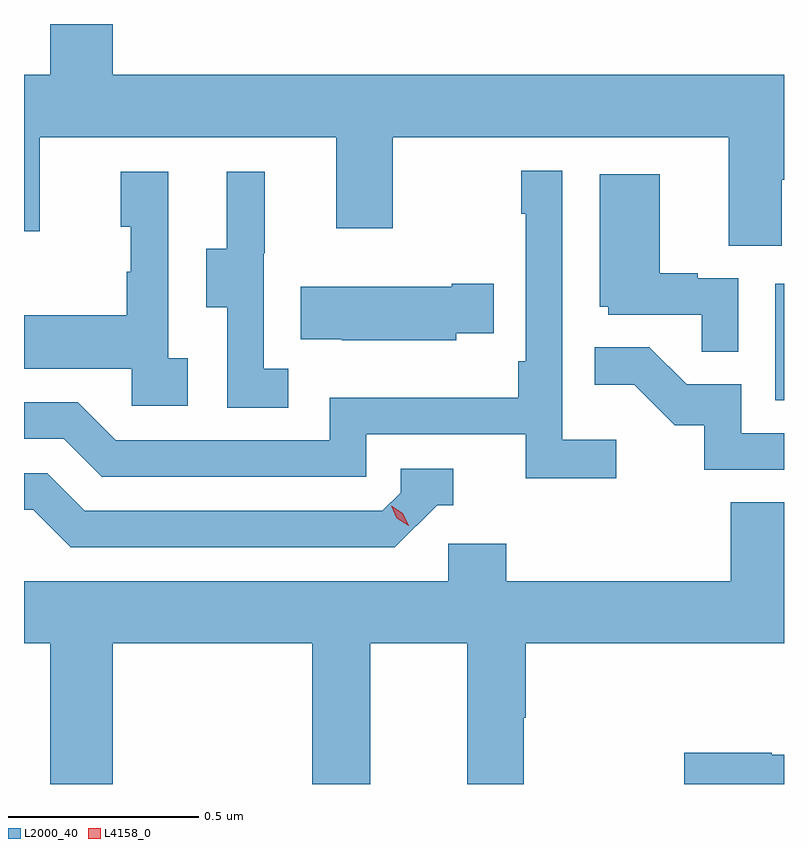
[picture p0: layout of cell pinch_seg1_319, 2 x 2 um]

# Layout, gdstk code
import gdstk
lib = gdstk.Library(unit=1e-6, precision=1e-09)
def R(c, l, rs):  # rectangles x0, y0, x1, y1
    for r in rs: c.add(gdstk.rectangle(r[:2], r[2:], *l))
def P(c, l, *ps):  # polygons
    for p in ps: c.add(gdstk.Polygon(p, *l))
L2000_40 = (2000, 40)
L4158_0 = (4158, 0)

pinch_seg1_319 = lib.new_cell('pinch_seg1_319')
R(pinch_seg1_319, L2000_40, [(898.184,557.7,898.207,558.007)])
P(pinch_seg1_319, L2000_40, [(898.201,558.28),(898.207,558.28),(898.207,558.556),(896.44,558.556),(896.44,558.69),(896.276,558.69),(896.276,558.556),(896.207,558.556),(896.207,558.144),(896.249,558.144),(896.249,558.392),(897.029,558.392),(897.029,558.153),(897.177,558.153),(897.177,558.392),(898.061,558.392),(898.061,558.106),(898.201,558.106)],
  [(897.766,557.596),(897.624,557.596),(897.624,558.304),(897.516,558.304),(897.516,558.191),(897.528,558.191),(897.528,557.803),(897.508,557.803),(897.508,557.707),(897.012,557.707),(897.012,557.595),(896.448,557.595),(896.349,557.694),(896.207,557.694),(896.207,557.598),(896.312,557.598),(896.411,557.499),(897.108,557.499),(897.108,557.61),(897.527,557.61),(897.527,557.494),(897.766,557.494)],
  [(896.638,557.81),(896.586,557.81),(896.586,558.301),(896.462,558.301),(896.462,558.156),(896.488,558.156),(896.488,558.038),(896.478,558.038),(896.478,557.923),(896.207,557.923),(896.207,557.783),(896.49,557.783),(896.49,557.685),(896.638,557.685)],
  [(896.902,557.783),(896.838,557.783),(896.838,558.087),(896.84,558.087),(896.84,558.301),(896.741,558.301),(896.741,558.099),(896.687,558.099),(896.687,557.944),(896.742,557.944),(896.742,557.68),(896.902,557.68)],
  [(898.086,558.021),(897.98,558.021),(897.98,558.034),(897.88,558.034),(897.88,558.295),(897.722,558.295),(897.722,557.946),(897.744,557.946),(897.744,557.925),(897.991,557.925),(897.991,557.827),(898.086,557.827)],
  [(897.345,557.876),(897.443,557.876),(897.443,558.006),(897.332,558.006),(897.332,557.998),(896.935,557.998),(896.935,557.861),(897.043,557.861),(897.043,557.858),(897.345,557.858)],
  [(898.207,557.613),(898.095,557.613),(898.095,557.742),(897.951,557.742),(897.853,557.84),(897.709,557.84),(897.709,557.741),(897.813,557.741),(897.92,557.634),(897.997,557.634),(897.997,557.517),(898.207,557.517)],
  [(897.294,557.424),(897.337,557.424),(897.337,557.52),(897.198,557.52),(897.198,557.457),(897.15,557.409),(896.367,557.409),(896.268,557.508),(896.207,557.508),(896.207,557.412),(896.231,557.412),(896.33,557.313),(897.183,557.313)],
  [(896.44,557.06),(896.966,557.06),(896.966,556.69),(897.118,556.69),(897.118,557.06),(897.374,557.06),(897.374,556.69),(897.522,556.69),(897.522,556.864),(897.527,556.864),(897.527,557.06),(898.207,557.06),(898.207,557.432),(898.067,557.432),(898.067,557.224),(897.476,557.224),(897.476,557.322),(897.324,557.322),(897.324,557.224),(896.207,557.224),(896.207,557.06),(896.276,557.06),(896.276,556.69),(896.44,556.69)],
  [(898.207,556.767),(898.175,556.767),(898.175,556.772),(897.945,556.772),(897.945,556.69),(898.207,556.69)])
P(pinch_seg1_319, L4158_0, [(897.219,557.369),(897.188,557.389),(897.173,557.422),(897.173,557.422),(897.173,557.422),(897.204,557.402),(897.219,557.37),(897.219,557.369)])

lib.write_gds('pinch_seg1_319.gds')
